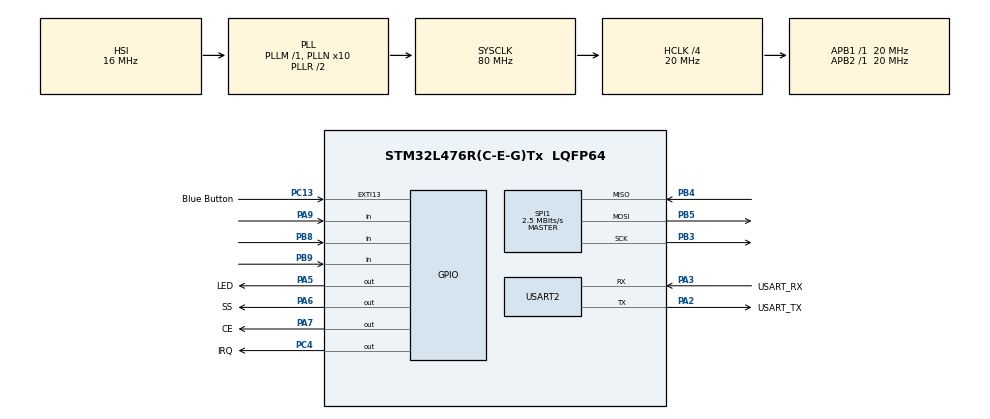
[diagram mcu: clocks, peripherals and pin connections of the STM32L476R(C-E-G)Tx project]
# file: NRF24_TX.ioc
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Mcu.Family=STM32L4
Mcu.Name=STM32L476R(C-E-G)Tx
Mcu.Package=LQFP64
NVIC.PriorityGroup=NVIC_PRIORITYGROUP_4
NVIC.TIM2_IRQn=true\:0\:0\:false\:false\:true\:true\:true
PA2.GPIO_Label=USART_TX
PA2.GPIO_Mode=GPIO_MODE_AF_PP
PA2.GPIO_PuPd=GPIO_NOPULL
PA2.GPIO_Speed=GPIO_SPEED_FREQ_VERY_HIGH
PA2.Mode=Asynchronous
PA2.Signal=USART2_TX
PA3.GPIO_Label=USART_RX
PA3.GPIO_Mode=GPIO_MODE_AF_PP
PA3.GPIO_PuPd=GPIO_NOPULL
PA3.GPIO_Speed=GPIO_SPEED_FREQ_VERY_HIGH
PA3.Mode=Asynchronous
PA3.Signal=USART2_RX
PA5.GPIO_Label=LED
PA5.Signal=GPIO_Output
PA6.GPIO_Label=SS
PA6.Signal=GPIO_Output
PA7.GPIO_Label=CE
PA7.Signal=GPIO_Output
PA9.Signal=GPIO_Input
PB3\ (JTDO-TRACESWO).Mode=Full_Duplex_Master
PB3\ (JTDO-TRACESWO).Signal=SPI1_SCK
PB4\ (NJTRST).Mode=Full_Duplex_Master
PB4\ (NJTRST).Signal=SPI1_MISO
PB5.Mode=Full_Duplex_Master
PB5.Signal=SPI1_MOSI
PB8.Signal=GPIO_Input
PB9.Signal=GPIO_Input
PC13.GPIO_Label=Blue Button
PC13.Signal=GPXTI13
PC4.GPIO_Label=IRQ
PC4.Signal=GPIO_Output
ProjectManager.HeapSize=0x200
ProjectManager.StackSize=0x400
ProjectManager.TargetToolchain=SW4STM32
RCC.ADCFreq_Value=64000000
RCC.AHBCLKDivider=RCC_SYSCLK_DIV4
RCC.AHBFreq_Value=20000000
RCC.APB1Freq_Value=20000000
RCC.APB1TimFreq_Value=20000000
RCC.APB2Freq_Value=20000000
RCC.APB2TimFreq_Value=20000000
RCC.CortexFreq_Value=20000000
RCC.HCLKFreq_Value=20000000
RCC.HSE_VALUE=8000000
RCC.HSI_VALUE=16000000
RCC.LSE_VALUE=32768
RCC.MSI_VALUE=4000000
RCC.PLLN=10
RCC.PLLSourceVirtual=RCC_PLLSOURCE_HSI
RCC.PREFETCH_ENABLE=1
RCC.SYSCLKFreq_VALUE=80000000
RCC.SYSCLKSource=RCC_SYSCLKSOURCE_PLLCLK
RCC.USBFreq_Value=64000000
RCC.VCOOutputFreq_Value=160000000
SPI1.BaudRatePrescaler=SPI_BAUDRATEPRESCALER_8
SPI1.CalculateBaudRate=2.5 MBits/s
SPI1.DataSize=SPI_DATASIZE_8BIT
SPI1.Direction=SPI_DIRECTION_2LINES
SPI1.Mode=SPI_MODE_MASTER
SPI1.VirtualType=VM_MASTER
TIM2.Period=2000
TIM2.Prescaler=9
USART2.VirtualMode-Asynchronous=VM_ASYNC
VP_TIM2_VS_ClockSourceINT.Mode=Internal
board=NUCLEO-L476RG

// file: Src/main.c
/* USER CODE BEGIN Header */
/**
  ******************************************************************************
  * @file           : main.c
  * @brief          : Main program body
  ******************************************************************************
  * @attention
  *
  * <h2><center>&copy; Copyright (c) 2020 STMicroelectronics.
  * All rights reserved.</center></h2>
  *
  * This software component is licensed by ST under BSD 3-Clause license,
  * the "License"; You may not use this file except in compliance with the
  * License. You may obtain a copy of the License at:
  *                        opensource.org/licenses/BSD-3-Clause
  *
  ******************************************************************************
  */
/* USER CODE END Header */

#include "main.h"

/* USER CODE BEGIN Includes */
#include "NRF24.h"
#include <string.h>
#include <stdbool.h>
#include <stdio.h>

char str1[60]={0};
volatile uint8_t buf[60] = {0} ;
volatile uint8_t buf1[60] = {1};
volatile uint8_t buf2[60] = {2};
volatile uint8_t buf3[60] = {3};

bool state = true;
/* USER CODE END Includes */

SPI_HandleTypeDef hspi1;

TIM_HandleTypeDef htim2;

UART_HandleTypeDef huart2;

void SystemClock_Config(void);
static void MX_GPIO_Init(void);
static void MX_SPI1_Init(void);
static void MX_USART2_UART_Init(void);
static void MX_TIM2_Init(void);

int main(void)
{
  /* USER CODE BEGIN 1 */
	// uint8_t dt_reg;
	uint8_t dt;
//	uint8_t i=1;
	uint8_t dt_reg;

  /* USER CODE END 1 */

  /* MCU Configuration--------------------------------------------------------*/

  /* Reset of all peripherals, Initializes the Flash interface and the Systick. */
  HAL_Init();

  /* Configure the system clock */
  SystemClock_Config();

  /* Initialize all configured peripherals */
  MX_GPIO_Init();
  MX_SPI1_Init();
  MX_USART2_UART_Init();
  MX_TIM2_Init();
  /* USER CODE BEGIN 2 */
  NRF24_ini();
  /* USER CODE END 2 */

  /* Infinite loop */
  /* USER CODE BEGIN WHILE */
  while (1)
  {
	 // HAL_Delay(100);
	  // HAL_Delay(100);

	 	/* dt_reg = NRF24_ReadReg(CONFIG);

	 	  	  	  sprintf(str1,"CONFIG: 0x%02X\r\n",dt_reg);

	 	  	  	  HAL_UART_Transmit(&huart2,(uint8_t*)str1,strlen(str1),0x1000);
*/

	 	 // memcpy(buf,(uint8_t*)&i,1);

	 	//  if(retr_cnt_full>999) retr_cnt_full=999;

	 	 // memcpy(buf+2,(uint8_t*)&retr_cnt_full,2);
/*
	 if(HAL_GPIO_ReadPin(GPIOB,GPIO_PIN_8)){

	 	   NRF24L01_Send(buf);
	 } else {

		 __NOP();

	 }

	 if(HAL_GPIO_ReadPin(GPIOB, GPIO_PIN_9)){
	 	NRF24L01_Send(buf1);
	 } else {
	 	  __NOP();
	 }

	 if(HAL_GPIO_ReadPin(GPIOA, GPIO_PIN_9)){
		 	NRF24L01_Send(buf3);
		 } else {
		 	  __NOP();
		 }
*/
	 if(HAL_GPIO_ReadPin(GPIOC, GPIO_PIN_13)){
		 __NOP();
		 } else {
			 NRF24L01_Send(buf2);
		 }

	 	 // retr_cnt = dt & 0xF;

	 	 // retr_cnt_full += retr_cnt;

	 	//  sprintf(str1,"counter: %u \r\n",buf[0]);

	 	//  HAL_UART_Transmit(&huart2,(uint8_t*)str1,strlen(str1),0x1000);

	 	/*  sprintf(str1,"counter 2: %u \r\n",buf[1]);

	 	  HAL_UART_Transmit(&huart2,(uint8_t*)str1,strlen(str1),0x1000);

	 	  sprintf(str1,"counter: %u \r\n",buf[2]);

	 	  HAL_UART_Transmit(&huart2,(uint8_t*)str1,strlen(str1),0x1000);

	 	  sprintf(str1,"counter: %u \r\n",buf[3]);

	 	  HAL_UART_Transmit(&huart2,(uint8_t*)str1,strlen(str1),0x1000); */

    /* USER CODE END WHILE */

  }
}

void SystemClock_Config(void)
{
  RCC_OscInitTypeDef RCC_OscInitStruct = {0};
  RCC_ClkInitTypeDef RCC_ClkInitStruct = {0};
  RCC_PeriphCLKInitTypeDef PeriphClkInit = {0};

  /** Initializes the CPU, AHB and APB busses clocks
  */
  RCC_OscInitStruct.OscillatorType = RCC_OSCILLATORTYPE_HSI;
  RCC_OscInitStruct.HSIState = RCC_HSI_ON;
  RCC_OscInitStruct.HSICalibrationValue = RCC_HSICALIBRATION_DEFAULT;
  RCC_OscInitStruct.PLL.PLLState = RCC_PLL_ON;
  RCC_OscInitStruct.PLL.PLLSource = RCC_PLLSOURCE_HSI;
  RCC_OscInitStruct.PLL.PLLM = 1;
  RCC_OscInitStruct.PLL.PLLN = 10;
  RCC_OscInitStruct.PLL.PLLP = RCC_PLLP_DIV7;
  RCC_OscInitStruct.PLL.PLLQ = RCC_PLLQ_DIV2;
  RCC_OscInitStruct.PLL.PLLR = RCC_PLLR_DIV2;
  if (HAL_RCC_OscConfig(&RCC_OscInitStruct) != HAL_OK)
  {
    Error_Handler();
  }
  /** Initializes the CPU, AHB and APB busses clocks
  */
  RCC_ClkInitStruct.ClockType = RCC_CLOCKTYPE_HCLK|RCC_CLOCKTYPE_SYSCLK
                              |RCC_CLOCKTYPE_PCLK1|RCC_CLOCKTYPE_PCLK2;
  RCC_ClkInitStruct.SYSCLKSource = RCC_SYSCLKSOURCE_PLLCLK;
  RCC_ClkInitStruct.AHBCLKDivider = RCC_SYSCLK_DIV4;
  RCC_ClkInitStruct.APB1CLKDivider = RCC_HCLK_DIV1;
  RCC_ClkInitStruct.APB2CLKDivider = RCC_HCLK_DIV1;

  if (HAL_RCC_ClockConfig(&RCC_ClkInitStruct, FLASH_LATENCY_1) != HAL_OK)
  {
    Error_Handler();
  }
  PeriphClkInit.PeriphClockSelection = RCC_PERIPHCLK_USART2;
  PeriphClkInit.Usart2ClockSelection = RCC_USART2CLKSOURCE_PCLK1;
  if (HAL_RCCEx_PeriphCLKConfig(&PeriphClkInit) != HAL_OK)
  {
    Error_Handler();
  }
  /** Configure the main internal regulator output voltage
  */
  if (HAL_PWREx_ControlVoltageScaling(PWR_REGULATOR_VOLTAGE_SCALE1) != HAL_OK)
  {
    Error_Handler();
  }
}

static void MX_SPI1_Init(void)
{

  /* SPI1 parameter configuration*/
  hspi1.Instance = SPI1;
  hspi1.Init.Mode = SPI_MODE_MASTER;
  hspi1.Init.Direction = SPI_DIRECTION_2LINES;
  hspi1.Init.DataSize = SPI_DATASIZE_8BIT;
  hspi1.Init.CLKPolarity = SPI_POLARITY_LOW;
  hspi1.Init.CLKPhase = SPI_PHASE_1EDGE;
  hspi1.Init.NSS = SPI_NSS_SOFT;
  hspi1.Init.BaudRatePrescaler = SPI_BAUDRATEPRESCALER_8;
  hspi1.Init.FirstBit = SPI_FIRSTBIT_MSB;
  hspi1.Init.TIMode = SPI_TIMODE_DISABLE;
  hspi1.Init.CRCCalculation = SPI_CRCCALCULATION_DISABLE;
  hspi1.Init.CRCPolynomial = 7;
  hspi1.Init.CRCLength = SPI_CRC_LENGTH_DATASIZE;
  hspi1.Init.NSSPMode = SPI_NSS_PULSE_ENABLE;
  if (HAL_SPI_Init(&hspi1) != HAL_OK)
  {
    Error_Handler();
  }

}

static void MX_TIM2_Init(void)
{

  TIM_ClockConfigTypeDef sClockSourceConfig = {0};
  TIM_MasterConfigTypeDef sMasterConfig = {0};

  htim2.Instance = TIM2;
  htim2.Init.Prescaler = 9;
  htim2.Init.CounterMode = TIM_COUNTERMODE_UP;
  htim2.Init.Period = 2000;
  htim2.Init.ClockDivision = TIM_CLOCKDIVISION_DIV1;
  htim2.Init.AutoReloadPreload = TIM_AUTORELOAD_PRELOAD_DISABLE;
  if (HAL_TIM_Base_Init(&htim2) != HAL_OK)
  {
    Error_Handler();
  }
  sClockSourceConfig.ClockSource = TIM_CLOCKSOURCE_INTERNAL;
  if (HAL_TIM_ConfigClockSource(&htim2, &sClockSourceConfig) != HAL_OK)
  {
    Error_Handler();
  }
  sMasterConfig.MasterOutputTrigger = TIM_TRGO_RESET;
  sMasterConfig.MasterSlaveMode = TIM_MASTERSLAVEMODE_DISABLE;
  if (HAL_TIMEx_MasterConfigSynchronization(&htim2, &sMasterConfig) != HAL_OK)
  {
    Error_Handler();
  }

}

static void MX_USART2_UART_Init(void)
{

  huart2.Instance = USART2;
  huart2.Init.BaudRate = 115200;
  huart2.Init.WordLength = UART_WORDLENGTH_8B;
  huart2.Init.StopBits = UART_STOPBITS_1;
  huart2.Init.Parity = UART_PARITY_NONE;
  huart2.Init.Mode = UART_MODE_TX_RX;
  huart2.Init.HwFlowCtl = UART_HWCONTROL_NONE;
  huart2.Init.OverSampling = UART_OVERSAMPLING_16;
  huart2.Init.OneBitSampling = UART_ONE_BIT_SAMPLE_DISABLE;
  huart2.AdvancedInit.AdvFeatureInit = UART_ADVFEATURE_NO_INIT;
  if (HAL_UART_Init(&huart2) != HAL_OK)
  {
    Error_Handler();
  }

}

static void MX_GPIO_Init(void)
{
  GPIO_InitTypeDef GPIO_InitStruct = {0};

  /* GPIO Ports Clock Enable */
  __HAL_RCC_GPIOC_CLK_ENABLE();
  __HAL_RCC_GPIOA_CLK_ENABLE();
  __HAL_RCC_GPIOB_CLK_ENABLE();

  /*Configure GPIO pin Output Level */
  HAL_GPIO_WritePin(GPIOA, LED_Pin|SS_Pin|CE_Pin, GPIO_PIN_RESET);

  /*Configure GPIO pin Output Level */
  HAL_GPIO_WritePin(IRQ_GPIO_Port, IRQ_Pin, GPIO_PIN_RESET);

  /*Configure GPIO pin : Blue_Button_Pin */
  GPIO_InitStruct.Pin = Blue_Button_Pin;
  GPIO_InitStruct.Mode = GPIO_MODE_IT_RISING;
  GPIO_InitStruct.Pull = GPIO_NOPULL;
  HAL_GPIO_Init(Blue_Button_GPIO_Port, &GPIO_InitStruct);

  /*Configure GPIO pins : LED_Pin SS_Pin CE_Pin */
  GPIO_InitStruct.Pin = LED_Pin|SS_Pin|CE_Pin;
  GPIO_InitStruct.Mode = GPIO_MODE_OUTPUT_PP;
  GPIO_InitStruct.Pull = GPIO_NOPULL;
  GPIO_InitStruct.Speed = GPIO_SPEED_FREQ_LOW;
  HAL_GPIO_Init(GPIOA, &GPIO_InitStruct);

  /*Configure GPIO pin : IRQ_Pin */
  GPIO_InitStruct.Pin = IRQ_Pin;
  GPIO_InitStruct.Mode = GPIO_MODE_OUTPUT_PP;
  GPIO_InitStruct.Pull = GPIO_NOPULL;
  GPIO_InitStruct.Speed = GPIO_SPEED_FREQ_LOW;
  HAL_GPIO_Init(IRQ_GPIO_Port, &GPIO_InitStruct);

  /*Configure GPIO pin : PA9 */
  GPIO_InitStruct.Pin = GPIO_PIN_9;
  GPIO_InitStruct.Mode = GPIO_MODE_INPUT;
  GPIO_InitStruct.Pull = GPIO_NOPULL;
  HAL_GPIO_Init(GPIOA, &GPIO_InitStruct);

  /*Configure GPIO pins : PB8 PB9 */
  GPIO_InitStruct.Pin = GPIO_PIN_8|GPIO_PIN_9;
  GPIO_InitStruct.Mode = GPIO_MODE_INPUT;
  GPIO_InitStruct.Pull = GPIO_NOPULL;
  HAL_GPIO_Init(GPIOB, &GPIO_InitStruct);

}

void Error_Handler(void)
{
}

/************************ (C) COPYRIGHT STMicroelectronics *****END OF FILE****/
